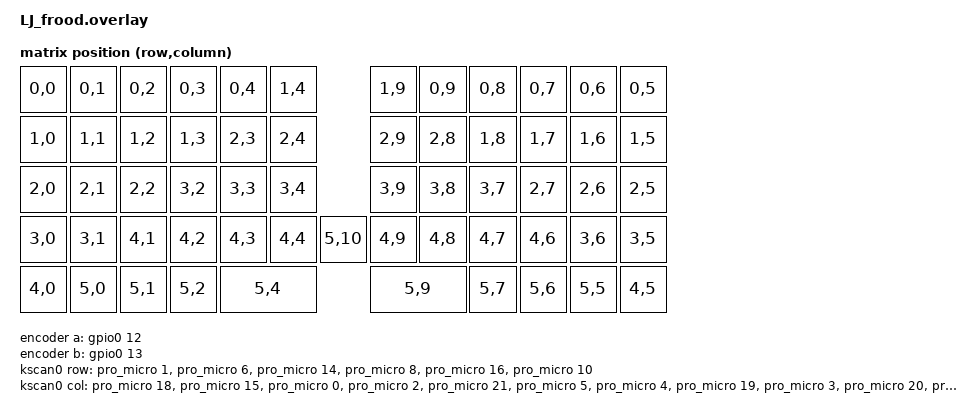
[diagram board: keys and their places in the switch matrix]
/*
 * Copyright (c) 2021 The ZMK Contributors
 *
 * SPDX-License-Identifier: MIT
 */

#include <dt-bindings/zmk/matrix_transform.h>
#include <physical_layouts.dtsi>
#include <dt-bindings/led/led.h>

&pinctrl {
    pio0_spi0_default: pio0_spi0_default {
        group1 {
            pinmux = <PIO0_P7>;
        };
    };
};

&pio0 {
    status = "okay";

    pio0_spi0: pio0_spi0 {
        pinctrl-0 = <&pio0_spi0_default>;
        pinctrl-names = "default";

        compatible = "raspberrypi,pico-spi-pio";
        #address-cells = <1>;
        #size-cells = <0>;
        clocks = <&system_clk>;
        clock-frequency = <4000000>;

        clk-gpios = <&gpio0 10 GPIO_ACTIVE_HIGH>;     /* Must be defined. Select a pin that is not used elsewhere. */
        mosi-gpios = <&gpio0 7 GPIO_ACTIVE_HIGH>; /* Data In pin. */
        miso-gpios = <&gpio0 11 GPIO_ACTIVE_HIGH>; /* Must be defined. Re-using the DI pin is OK for WS2812. */

        led_strip: ws2812@0 {
            compatible = "worldsemi,ws2812-spi";

            /* SPI */
            reg = <0>; /* ignored, but necessary for SPI bindings */
            spi-max-frequency = <4000000>;

            /* WS2812 */
            chain-length = <3>; /* number of LEDs */
            spi-one-frame = <0x70>;
            spi-zero-frame = <0x40>;
            color-mapping = <LED_COLOR_ID_GREEN
                             LED_COLOR_ID_RED
                             LED_COLOR_ID_BLUE>;
        };
    };
};


/ {
    chosen {
        // zmk,kscan = &kscan0;
        // zmk,matrix-transform = &default_transform;
        zmk,physical-layout = &default_layout;
        zmk,underglow = &led_strip;
    };

    encoder: encoder {
        compatible = "alps,ec11";
        a-gpios = <&gpio0 12 (GPIO_ACTIVE_HIGH | GPIO_PULL_UP)>;
        b-gpios = <&gpio0 13 (GPIO_ACTIVE_HIGH | GPIO_PULL_UP)>;
        steps = <40>;
        status = "okay";
    };

    sensors: sensors {
        compatible = "zmk,keymap-sensors";
        sensors = <&encoder>;
        triggers-per-rotation = <20>;
        status = "okay";
    };


    default_layout: default_layout {
        compatible = "zmk,physical-layout";
        display-name = "Default Layout";
        transform = <&default_transform>;
        kscan = <&kscan0>;

                keys  //             w   h    x    y     rot    rx    ry
            = <&key_physical_attrs 100 100    0    0       0     0     0>
            , <&key_physical_attrs 100 100  100    0       0     0     0>
            , <&key_physical_attrs 100 100  200    0       0     0     0>
            , <&key_physical_attrs 100 100  300    0       0     0     0>
            , <&key_physical_attrs 100 100  400    0       0     0     0>
            , <&key_physical_attrs 100 100  500    0       0     0     0>
            , <&key_physical_attrs 100 100  700    0       0     0     0>
            , <&key_physical_attrs 100 100  800    0       0     0     0>
            , <&key_physical_attrs 100 100  900    0       0     0     0>
            , <&key_physical_attrs 100 100 1000    0       0     0     0>
            , <&key_physical_attrs 100 100 1100    0       0     0     0>
            , <&key_physical_attrs 100 100 1200    0       0     0     0>
            , <&key_physical_attrs 100 100    0  100       0     0     0>
            , <&key_physical_attrs 100 100  100  100       0     0     0>
            , <&key_physical_attrs 100 100  200  100       0     0     0>
            , <&key_physical_attrs 100 100  300  100       0     0     0>
            , <&key_physical_attrs 100 100  400  100       0     0     0>
            , <&key_physical_attrs 100 100  500  100       0     0     0>
            , <&key_physical_attrs 100 100  700  100       0     0     0>
            , <&key_physical_attrs 100 100  800  100       0     0     0>
            , <&key_physical_attrs 100 100  900  100       0     0     0>
            , <&key_physical_attrs 100 100 1000  100       0     0     0>
            , <&key_physical_attrs 100 100 1100  100       0     0     0>
            , <&key_physical_attrs 100 100 1200  100       0     0     0>
            , <&key_physical_attrs 100 100    0  200       0     0     0>
            , <&key_physical_attrs 100 100  100  200       0     0     0>
            , <&key_physical_attrs 100 100  200  200       0     0     0>
            , <&key_physical_attrs 100 100  300  200       0     0     0>
            , <&key_physical_attrs 100 100  400  200       0     0     0>
            , <&key_physical_attrs 100 100  500  200       0     0     0>
            , <&key_physical_attrs 100 100  700  200       0     0     0>
            , <&key_physical_attrs 100 100  800  200       0     0     0>
            , <&key_physical_attrs 100 100  900  200       0     0     0>
            , <&key_physical_attrs 100 100 1000  200       0     0     0>
            , <&key_physical_attrs 100 100 1100  200       0     0     0>
            , <&key_physical_attrs 100 100 1200  200       0     0     0>
            , <&key_physical_attrs 100 100    0  300       0     0     0>
            , <&key_physical_attrs 100 100  100  300       0     0     0>
            , <&key_physical_attrs 100 100  200  300       0     0     0>
            , <&key_physical_attrs 100 100  300  300       0     0     0>
            , <&key_physical_attrs 100 100  400  300       0     0     0>
            , <&key_physical_attrs 100 100  500  300       0     0     0>
            , <&key_physical_attrs 100 100  600  300       0     0     0>
            , <&key_physical_attrs 100 100  700  300       0     0     0>
            , <&key_physical_attrs 100 100  800  300       0     0     0>
            , <&key_physical_attrs 100 100  900  300       0     0     0>
            , <&key_physical_attrs 100 100 1000  300       0     0     0>
            , <&key_physical_attrs 100 100 1100  300       0     0     0>
            , <&key_physical_attrs 100 100 1200  300       0     0     0>
            , <&key_physical_attrs 100 100    0  400       0     0     0>
            , <&key_physical_attrs 100 100  100  400       0     0     0>
            , <&key_physical_attrs 100 100  200  400       0     0     0>
            , <&key_physical_attrs 100 100  300  400       0     0     0>
            , <&key_physical_attrs 200 100  400  400       0     0     0>
            , <&key_physical_attrs 200 100  700  400       0     0     0>
            , <&key_physical_attrs 100 100  900  400       0     0     0>
            , <&key_physical_attrs 100 100 1000  400       0     0     0>
            , <&key_physical_attrs 100 100 1100  400       0     0     0>
            , <&key_physical_attrs 100 100 1200  400       0     0     0>
            ;

    };

    default_transform: keymap_transform_0 {
        compatible = "zmk,matrix-transform";
        columns = <11>;
        rows = <6>;
        map = <
RC(0,0) RC(0,1) RC(0,2) RC(0,3) RC(0,4) RC(1,4)              RC(1,9) RC(0,9) RC(0,8) RC(0,7) RC(0,6) RC(0,5)
RC(1,0) RC(1,1) RC(1,2) RC(1,3) RC(2,3) RC(2,4)              RC(2,9) RC(2,8) RC(1,8) RC(1,7) RC(1,6) RC(1,5)
RC(2,0) RC(2,1) RC(2,2) RC(3,2) RC(3,3) RC(3,4)              RC(3,9) RC(3,8) RC(3,7) RC(2,7) RC(2,6) RC(2,5)
RC(3,0) RC(3,1) RC(4,1) RC(4,2) RC(4,3) RC(4,4)   RC(5,10)   RC(4,9) RC(4,8) RC(4,7) RC(4,6) RC(3,6) RC(3,5)
RC(4,0) RC(5,0) RC(5,1) RC(5,2)     RC(5,4)                      RC(5,9)     RC(5,7) RC(5,6) RC(5,5) RC(4,5)
        >;
    };

    kscan0: kscan {
        compatible = "zmk,kscan-gpio-matrix";
        wakeup-source;

        diode-direction = "col2row";

        row-gpios
            = <&pro_micro 1 (GPIO_ACTIVE_HIGH | GPIO_PULL_DOWN)>
            , <&pro_micro 6 (GPIO_ACTIVE_HIGH | GPIO_PULL_DOWN)>
            , <&pro_micro 14 (GPIO_ACTIVE_HIGH | GPIO_PULL_DOWN)>
            , <&pro_micro 8 (GPIO_ACTIVE_HIGH | GPIO_PULL_DOWN)>
            , <&pro_micro 16 (GPIO_ACTIVE_HIGH | GPIO_PULL_DOWN)>
            , <&pro_micro 10 (GPIO_ACTIVE_HIGH | GPIO_PULL_DOWN)>
            ;

        col-gpios
            = <&pro_micro 18 GPIO_ACTIVE_HIGH>
            , <&pro_micro 15 GPIO_ACTIVE_HIGH>
            , <&pro_micro 0 GPIO_ACTIVE_HIGH>
            , <&pro_micro 2 GPIO_ACTIVE_HIGH>
            , <&pro_micro 21 GPIO_ACTIVE_HIGH>
            , <&pro_micro 5 GPIO_ACTIVE_HIGH>
            , <&pro_micro 4 GPIO_ACTIVE_HIGH>
            , <&pro_micro 19 GPIO_ACTIVE_HIGH>
            , <&pro_micro 3 GPIO_ACTIVE_HIGH>
            , <&pro_micro 20 GPIO_ACTIVE_HIGH>
            , <&pro_micro 9 GPIO_ACTIVE_HIGH>
            ;
    };

};
